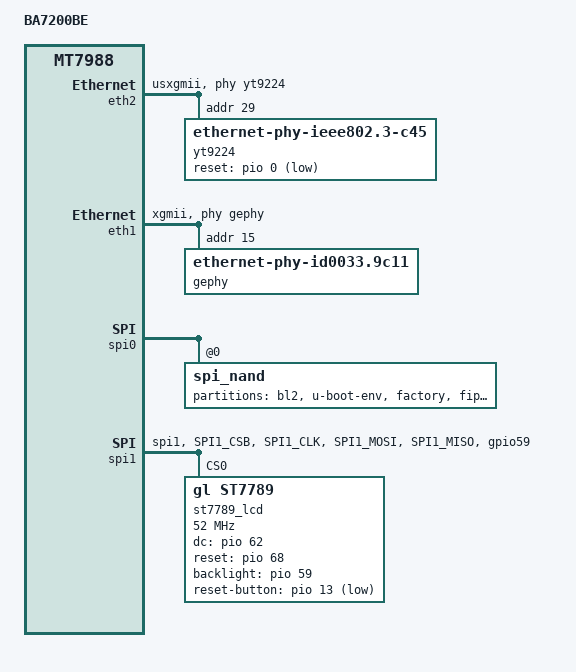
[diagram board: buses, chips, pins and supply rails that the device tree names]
// SPDX-License-Identifier: (GPL-2.0 OR MIT)

/dts-v1/;
#include "mt7988-rfb.dts"
#include "mt7988-u-boot.dtsi"
#include <dt-bindings/gpio/gpio.h>

/ {
	model = "BA7200BE";
	compatible = "gl,ba7200be", "mediatek,mt7988-rfb";

	bl2_verify {
		bl2_compatible = "spim-nand";
	};

	config {
		bootcmd = "mtkboardboot";
		/delete-property/ u-boot,mmc-env-partition;
		environment {
			lu = "mtkupgrade fip uboot-gl-ba7200be.bin";
			lf = "mtkupgrade fw openwrt-gl-ba7200be.bin";
			ethpluglock = "yes";
			ethswlinkwait = "300";
			ethphyanegwait = "300";
		};
	};
};

/*
 * BA7200BE Ethernet (U-Boot device names)
 *
 *   eth0  ethernet@15110100  YT9224 switch (USXGMII_0 / GMAC0)  -> LAN 4x RJ45
 *   eth1  ethernet@15110200  MT7988 built-in 2.5G PHY (GMAC1)   -> WAN 1x RJ45
 *
 * ethpluglock=yes (default) auto-picks the first link-up port via eth_init();
 * no manual setenv ethact is required for ping/TFTP/httpd.
 */

/* eth0: YT9224 on USXGMII_0 (GMAC0), per BA7200BE schematic */
&eth2 {
	status = "okay";
	pinctrl-names = "default";
	pinctrl-0 = <&mdio_pins>;
	phy-mode = "usxgmii";
	phy-handle = <&yt9224>;
	mediatek,switch = "yt9224";
	/delete-property/ mediatek,mcm;
	/delete-node/ fixed-link;

	mdio {
		clock-frequency = <2500000>;
	};

	yt9224: ethernet-phy@29 {
		compatible = "ethernet-phy-ieee802.3-c45";
		reg = <29>;
		status = "okay";
		reset-gpios = <&pio 0 GPIO_ACTIVE_LOW>;
		reset-assert-us = <100000>;
		reset-deassert-us = <2210000>;
	};
};

/* eth1: MT7988 built-in 2.5G PHY (WAN), GMAC1 / xgmii / phy@15 */
&eth1 {
	status = "okay";
	phy-mode = "xgmii";
	phy-handle = <&gephy>;
	/delete-property/ mediatek,mcm;
	/delete-node/ ethernet-phy@0;

	gephy: ethernet-phy@15 {
		compatible = "ethernet-phy-id0033.9c11";
		reg = <15>;
		phy-mode = "xgmii";
	};
};

&mmc0 {
	status = "disabled";
};

&spi2 {
	status = "disabled";
};

&pio {
	i2p5gbe_led0_pins: led0_2p5gbe_pins {
		mux {
			function = "led";
			groups = "2p5gbe_led0";
		};
	};

	spi1_pins: spi1-pins {
		mux {
			function = "spi";
			groups = "spi1";
		};

		conf-pu {
			pins = "SPI1_CSB";
			drive-strength = <MTK_DRIVE_8mA>;
			bias-pull-up = <MTK_PUPD_SET_R1R0_11>;
		};

		conf-pd {
			pins = "SPI1_CLK", "SPI1_MOSI", "SPI1_MISO";
			drive-strength = <MTK_DRIVE_8mA>;
			bias-pull-down = <MTK_PUPD_SET_R1R0_11>;
		};
	};

	jtag_disable: jtag_disable {
		mux {
			function = "jtag";
			groups = "gpio59";
		};
	};
};

&spi0 {
	spi_nand@0 {
		spi-tx-bus-width = <4>;
		spi-rx-bus-width = <4>;
		mediatek,nmbm;
		mediatek,bmt-max-ratio = <1>;
		mediatek,bmt-max-reserved-blocks = <64>;

		partitions {
			compatible = "fixed-partitions";
			#address-cells = <1>;
			#size-cells = <1>;

			partition@0 {
				label = "bl2";
				reg = <0x000000 0x100000>;
			};

			partition@100000 {
				label = "u-boot-env";
				reg = <0x100000 0x80000>;
			};

			factory: partition@180000 {
				label = "factory";
				reg = <0x180000 0x400000>;
			};

			partition@580000 {
				label = "fip";
				reg = <0x580000 0x300000>;
			};

			partition@880000 {
				label = "log";
				reg = <0x880000 0x40000>;
			};

			partition@8c0000 {
				label = "CFG";
				reg = <0x8c0000 0x40000>;
			};

			partition@900000 {
				label = "ubi";
				reg = <0x900000 0x1d700000>;
				compatible = "linux,ubi";
				volumes {
					ubi_rootfs: ubi-volume-fit {
						volname = "firmware";
					};
				};
			};
		};
	};
};

&spi1 {
	compatible = "mediatek,ipm-spi-single", "mediatek,spi-ipm";
	pinctrl-names = "default";
	pinctrl-0 = <&spi1_pins &jtag_disable>;
	#address-cells = <1>;
	#size-cells = <0>;
	clocks = <&topckgen CLK_TOP_MPLL_D2>,
		 <&topckgen CLK_TOP_SPI_SEL>,
		 <&infracfg CLK_INFRA_104M_SPI1>,
		 <&infracfg CLK_INFRA_66M_SPI1_HCK>;
	clock-names = "parent-clk", "sel-clk", "spi-clk", "hclk";
	status = "okay";
	must_tx;
	enhance_timing;
	dma_ext;
	ipm_design;
	tick_dly = <2>;
	sample_sel = <0>;

	st7789_lcd: st7789@0 {
		compatible = "gl,st7789";
		reg = <0>;
		spi-max-frequency = <52000000>;
		dc-gpios = <&pio 62 GPIO_ACTIVE_HIGH>;
		reset-gpios = <&pio 68 GPIO_ACTIVE_HIGH>;
		backlight-gpios = <&pio 59 GPIO_ACTIVE_HIGH>;
		reset-button-gpios = <&pio 13 GPIO_ACTIVE_LOW>;
	};
};
